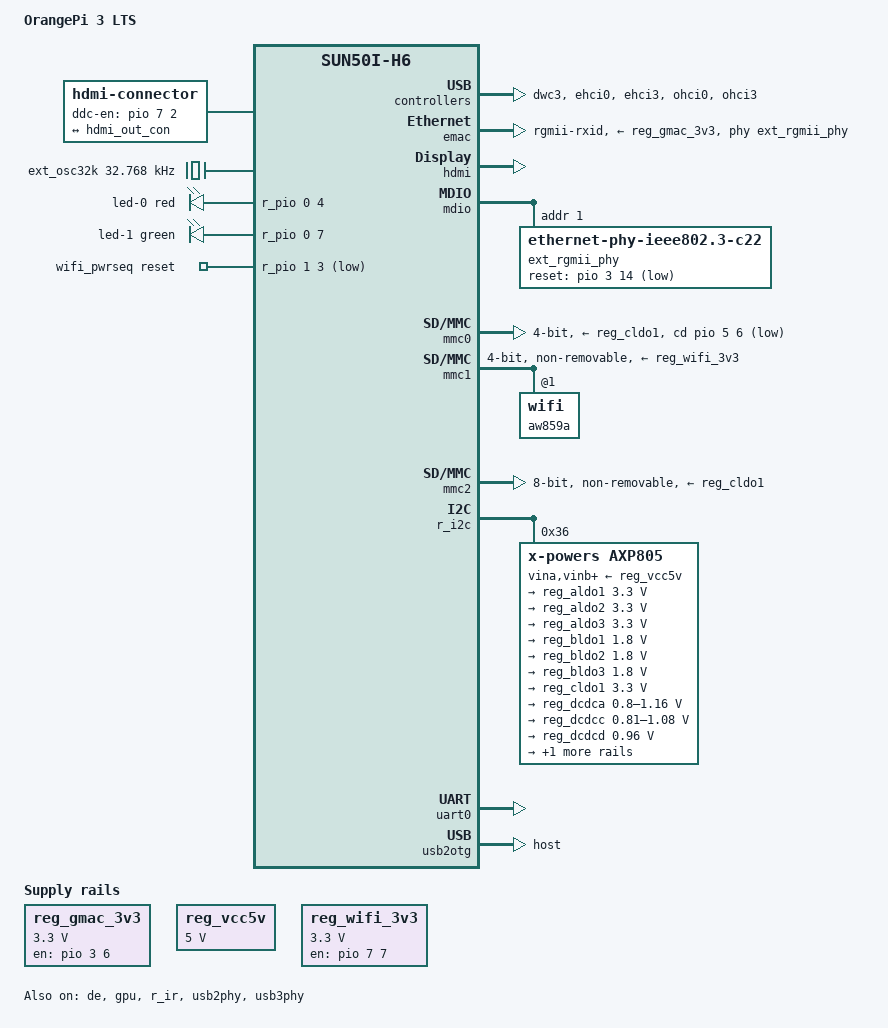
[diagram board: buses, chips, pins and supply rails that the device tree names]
// SPDX-License-Identifier: (GPL-2.0+ OR MIT)
// Copyright (C) 2025 Jernej Skrabec <jernej.skrabec@gmail.com>
// Based on sun50i-h6-orangepi-3.dts, which is:
// Copyright (C) 2019 Ondřej Jirman <megous@megous.com>

/dts-v1/;

#include "sun50i-h6.dtsi"
#include "sun50i-h6-cpu-opp.dtsi"
#include "sun50i-h6-gpu-opp.dtsi"
#include <dt-bindings/gpio/gpio.h>
#include <dt-bindings/leds/common.h>

/ {
	model = "OrangePi 3 LTS";
	compatible = "xunlong,orangepi-3-lts", "allwinner,sun50i-h6";

	aliases {
		ethernet0 = &emac;
		ethernet1 = &aw859a;
		serial0 = &uart0;
	};

	chosen {
		stdout-path = "serial0:115200n8";
	};

	connector {
		compatible = "hdmi-connector";
		ddc-en-gpios = <&pio 7 2 GPIO_ACTIVE_HIGH>; /* PH2 */
		type = "a";

		port {
			hdmi_con_in: endpoint {
				remote-endpoint = <&hdmi_out_con>;
			};
		};
	};

	ext_osc32k: ext_osc32k_clk {
		#clock-cells = <0>;
		compatible = "fixed-clock";
		clock-frequency = <32768>;
		clock-output-names = "ext_osc32k";
	};

	leds {
		compatible = "gpio-leds";

		led-0 {
			function = LED_FUNCTION_POWER;
			color = <LED_COLOR_ID_RED>;
			gpios = <&r_pio 0 4 GPIO_ACTIVE_HIGH>; /* PL4 */
			default-state = "on";
		};

		led-1 {
			function = LED_FUNCTION_STATUS;
			color = <LED_COLOR_ID_GREEN>;
			gpios = <&r_pio 0 7 GPIO_ACTIVE_HIGH>; /* PL7 */
		};
	};

	reg_gmac_3v3: gmac-3v3 {
		compatible = "regulator-fixed";
		regulator-name = "gmac-3v3";
		regulator-min-microvolt = <3300000>;
		regulator-max-microvolt = <3300000>;
		startup-delay-us = <150000>;
		enable-active-high;
		gpio = <&pio 3 6 GPIO_ACTIVE_HIGH>; /* PD6 */
	};

	reg_vcc5v: vcc5v {
		/* board wide 5V supply directly from the DC jack */
		compatible = "regulator-fixed";
		regulator-name = "vcc-5v";
		regulator-min-microvolt = <5000000>;
		regulator-max-microvolt = <5000000>;
		regulator-always-on;
	};

	reg_wifi_3v3: wifi-3v3 {
		/* 3.3V regulator for WiFi and BT */
		compatible = "regulator-fixed";
		regulator-name = "wifi-3v3";
		regulator-min-microvolt = <3300000>;
		regulator-max-microvolt = <3300000>;
		enable-active-high;
		gpio = <&pio 7 7 GPIO_ACTIVE_HIGH>; /* PH7 */
	};

	wifi_pwrseq: wifi-pwrseq {
		compatible = "mmc-pwrseq-simple";
		clocks = <&rtc 1>;
		clock-names = "ext_clock";
		reset-gpios = <&r_pio 1 3 GPIO_ACTIVE_LOW>; /* PM3 */
		post-power-on-delay-ms = <200>;
	};
};

&cpu0 {
	cpu-supply = <&reg_dcdca>;
};

&de {
	status = "okay";
};

&dwc3 {
	status = "okay";
};

&ehci0 {
	status = "okay";
};

&ehci3 {
	status = "okay";
};

&emac {
	pinctrl-names = "default";
	pinctrl-0 = <&ext_rgmii_pins>;
	phy-mode = "rgmii-rxid";
	phy-handle = <&ext_rgmii_phy>;
	phy-supply = <&reg_gmac_3v3>;
	allwinner,rx-delay-ps = <0>;
	allwinner,tx-delay-ps = <700>;
	status = "okay";
};

&gpu {
	mali-supply = <&reg_dcdcc>;
	status = "okay";
};

&hdmi {
	hvcc-supply = <&reg_bldo2>;
	status = "okay";
};

&hdmi_out {
	hdmi_out_con: endpoint {
		remote-endpoint = <&hdmi_con_in>;
	};
};

&mdio {
	ext_rgmii_phy: ethernet-phy@1 {
		compatible = "ethernet-phy-ieee802.3-c22";
		reg = <1>;

		motorcomm,clk-out-frequency-hz = <125000000>;

		reset-gpios = <&pio 3 14 GPIO_ACTIVE_LOW>; /* PD14 */
		reset-assert-us = <15000>;
		reset-deassert-us = <100000>;
	};
};

&mmc0 {
	vmmc-supply = <&reg_cldo1>;
	cd-gpios = <&pio 5 6 GPIO_ACTIVE_LOW>; /* PF6 */
	disable-wp;
	bus-width = <4>;
	status = "okay";
};

&mmc1 {
	vmmc-supply = <&reg_wifi_3v3>;
	vqmmc-supply = <&reg_bldo3>;
	mmc-pwrseq = <&wifi_pwrseq>;
	bus-width = <4>;
	non-removable;
	status = "okay";

	aw859a: wifi@1 {
		reg = <1>;
	};
};

&mmc2 {
	vmmc-supply = <&reg_cldo1>;
	vqmmc-supply = <&reg_bldo2>;
	cap-mmc-hw-reset;
	non-removable;
	bus-width = <8>;
	status = "okay";
};

&ohci0 {
	status = "okay";
};

&ohci3 {
	status = "okay";
};

&pio {
	vcc-pc-supply = <&reg_bldo2>;
	vcc-pd-supply = <&reg_cldo1>;
	vcc-pg-supply = <&reg_bldo3>;
};

&r_ir {
	status = "okay";
};

&r_i2c {
	status = "okay";

	axp805: pmic@36 {
		compatible = "x-powers,axp805", "x-powers,axp806";
		reg = <0x36>;
		interrupt-parent = <&r_intc>;
		interrupts = <GIC_SPI 96 IRQ_TYPE_LEVEL_LOW>;
		interrupt-controller;
		#interrupt-cells = <1>;
		x-powers,self-working-mode;
		vina-supply = <&reg_vcc5v>;
		vinb-supply = <&reg_vcc5v>;
		vinc-supply = <&reg_vcc5v>;
		vind-supply = <&reg_vcc5v>;
		vine-supply = <&reg_vcc5v>;
		aldoin-supply = <&reg_vcc5v>;
		bldoin-supply = <&reg_vcc5v>;
		cldoin-supply = <&reg_vcc5v>;

		regulators {
			reg_aldo1: aldo1 {
				regulator-always-on;
				regulator-min-microvolt = <3300000>;
				regulator-max-microvolt = <3300000>;
				regulator-name = "vcc-pl-led-ir";
			};

			reg_aldo2: aldo2 {
				regulator-min-microvolt = <3300000>;
				regulator-max-microvolt = <3300000>;
				regulator-name = "vcc33-audio-tv-ephy-mac";
			};

			/* ALDO3 is shorted to CLDO1 */
			reg_aldo3: aldo3 {
				regulator-always-on;
				regulator-min-microvolt = <3300000>;
				regulator-max-microvolt = <3300000>;
				regulator-name = "vcc33-io-pd-emmc-sd-usb-uart-1";
			};

			reg_bldo1: bldo1 {
				regulator-always-on;
				regulator-min-microvolt = <1800000>;
				regulator-max-microvolt = <1800000>;
				regulator-name = "vcc18-dram-bias-pll";
			};

			reg_bldo2: bldo2 {
				regulator-min-microvolt = <1800000>;
				regulator-max-microvolt = <1800000>;
				regulator-name = "vcc-efuse-pcie-hdmi-pc";
			};

			reg_bldo3: bldo3 {
				regulator-min-microvolt = <1800000>;
				regulator-max-microvolt = <1800000>;
				regulator-name = "vcc-pm-pg-dcxoio-wifi";
			};

			bldo4 {
				/* unused */
			};

			reg_cldo1: cldo1 {
				regulator-always-on;
				regulator-min-microvolt = <3300000>;
				regulator-max-microvolt = <3300000>;
				regulator-name = "vcc33-io-pd-emmc-sd-usb-uart-2";
			};

			cldo2 {
				/* unused */
			};

			cldo3 {
				/* unused */
			};

			reg_dcdca: dcdca {
				regulator-always-on;
				regulator-min-microvolt = <800000>;
				regulator-max-microvolt = <1160000>;
				regulator-ramp-delay = <2500>;
				regulator-name = "vdd-cpu";
			};

			reg_dcdcc: dcdcc {
				regulator-enable-ramp-delay = <32000>;
				regulator-min-microvolt = <810000>;
				regulator-max-microvolt = <1080000>;
				regulator-ramp-delay = <2500>;
				regulator-name = "vdd-gpu";
			};

			reg_dcdcd: dcdcd {
				regulator-always-on;
				regulator-min-microvolt = <960000>;
				regulator-max-microvolt = <960000>;
				regulator-name = "vdd-sys";
			};

			reg_dcdce: dcdce {
				regulator-always-on;
				regulator-min-microvolt = <1200000>;
				regulator-max-microvolt = <1200000>;
				regulator-name = "vcc-dram";
			};

			sw {
				/* unused */
			};
		};
	};
};

&rtc {
	clocks = <&ext_osc32k>;
};

&uart0 {
	pinctrl-names = "default";
	pinctrl-0 = <&uart0_ph_pins>;
	status = "okay";
};

&usb2otg {
	dr_mode = "host";
	status = "okay";
};

&usb2phy {
	usb0_id_det-gpios = <&pio 2 15 GPIO_ACTIVE_HIGH>; /* PC15 */
	usb0_vbus-supply = <&reg_vcc5v>;
	usb3_vbus-supply = <&reg_vcc5v>;
	status = "okay";
};

&usb3phy {
	status = "okay";
};
